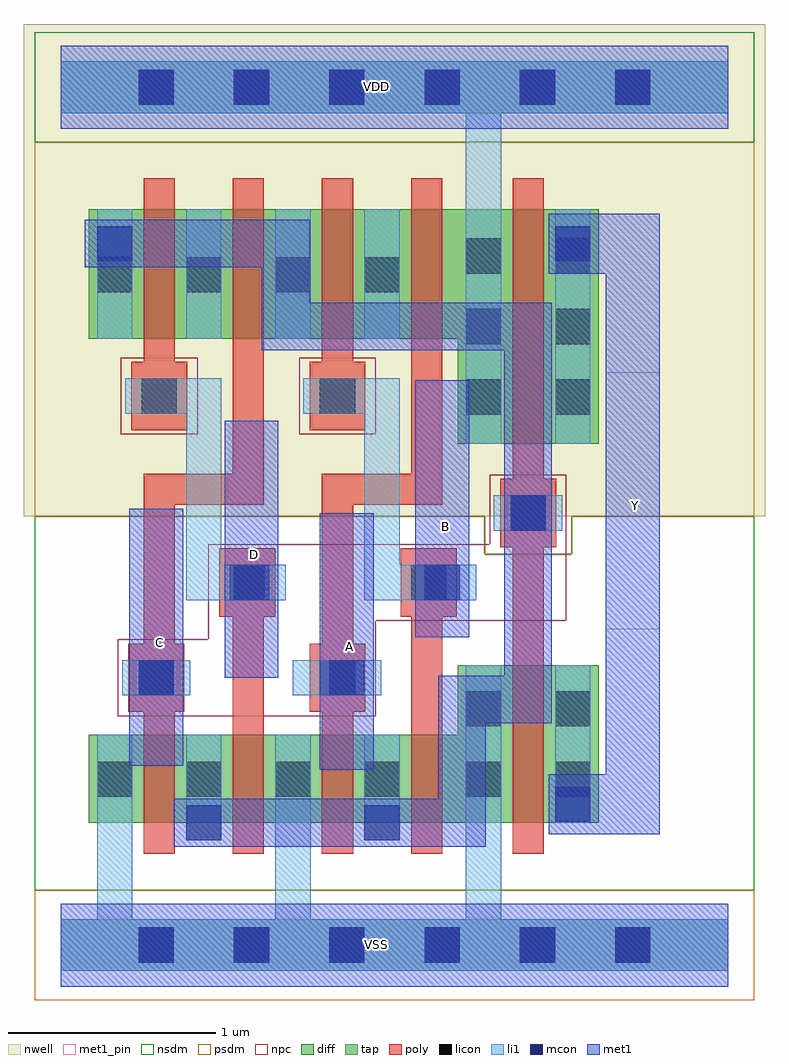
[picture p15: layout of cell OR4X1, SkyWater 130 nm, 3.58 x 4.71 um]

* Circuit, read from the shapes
.subckt OR4X1 A B C D VDD VSS Y
XM1 n1 C VSS VSS sky130_fd_pr__nfet_01v8 w=0.425 l=0.15
XM2 VSS D n1 VSS sky130_fd_pr__nfet_01v8 w=0.425 l=0.15
XM3 n1 A VSS VSS sky130_fd_pr__nfet_01v8 w=0.425 l=0.15
XM4 VSS B n1 VSS sky130_fd_pr__nfet_01v8 w=0.425 l=0.15
XM5 Y n1 VSS VSS sky130_fd_pr__nfet_01v8 w=0.76 l=0.15
XM6 n2 D n1 VDD sky130_fd_pr__pfet_01v8 w=0.625 l=0.15
XM7 n3 C n2 VDD sky130_fd_pr__pfet_01v8 w=0.625 l=0.15
XM8 n4 B n3 VDD sky130_fd_pr__pfet_01v8 w=0.625 l=0.15
XM9 VDD A n4 VDD sky130_fd_pr__pfet_01v8 w=0.625 l=0.15
XM10 Y n1 VDD VDD sky130_fd_pr__pfet_01v8 w=1.13 l=0.15
.ends

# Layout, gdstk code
from math import pi, radians
import gdstk
lib = gdstk.Library(unit=1e-6, precision=1e-09)
def R(c, l, rs):  # rectangles x0, y0, x1, y1
    for r in rs: c.add(gdstk.rectangle(r[:2], r[2:], *l))
def A(c, l, x, y, w, h, nx, ny, dx, dy):  # array of equal rectangles
    R(c, l, [(x+i*dx, y+j*dy, x+i*dx+w, y+j*dy+h) for i in range(nx) for j in range(ny)])
def P(c, l, *ps):  # polygons
    for p in ps: c.add(gdstk.Polygon(p, *l))
nwell = (64, 20)
diff = (65, 20)
tap = (65, 44)
poly = (66, 20)
licon = (66, 44)
li1 = (67, 20)
mcon = (67, 44)
met1_pin = (68, 16)
met1 = (68, 20)
nsdm = (93, 44)
psdm = (94, 20)
npc = (95, 20)

pfet_01v8_cdns_715785618 = lib.new_cell('pfet_01v8_CDNS_7157856182038')
R(pfet_01v8_cdns_715785618, nwell, [(-0.445,-0.18,0.595,1.31)])
R(pfet_01v8_cdns_715785618, diff, [(-0.265,0,0,1.13), (0,0,0.15,1.13), (0.15,0,0.415,1.13)])
R(pfet_01v8_cdns_715785618, poly, [(0,-0.15,0.15,-0.095), (0,-0.095,0.15,0), (0,0,0.15,1.13), (0,1.13,0.15,1.225), (0,1.225,0.15,1.28)])
A(pfet_01v8_cdns_715785618, licon, -0.225, 0.14, 0.17, 0.17, 1, 3, 0, 0.34)
A(pfet_01v8_cdns_715785618, licon, 0.205, 0.14, 0.17, 0.17, 1, 3, 0, 0.34)
R(pfet_01v8_cdns_715785618, li1, [(-0.225,0,-0.055,1.13), (0.205,0,0.375,1.13)])
R(pfet_01v8_cdns_715785618, psdm, [(-0.405,-0.13,0.555,1.26)])

c_pfet_01v8_cdns_715785618 = lib.new_cell('pfet_01v8_CDNS_71578561820112')
R(c_pfet_01v8_cdns_715785618, nwell, [(-0.405,-0.18,0.405,0.805)])
R(c_pfet_01v8_cdns_715785618, diff, [(-0.225,0,0,0.625), (0,0,0.15,0.625), (0.15,0,0.225,0.625)])
R(c_pfet_01v8_cdns_715785618, poly, [(0,-0.15,0.15,-0.095), (0,-0.095,0.15,0), (0,0,0.15,0.625), (0,0.625,0.15,0.72), (0,0.72,0.15,0.775)])
R(c_pfet_01v8_cdns_715785618, psdm, [(-0.235,-0.13,0.105,0.755)])

nfet_01v8_cdns_715785618 = lib.new_cell('nfet_01v8_CDNS_7157856182011')
R(nfet_01v8_cdns_715785618, diff, [(-0.265,0,0,0.425), (0,0,0.15,0.425), (0.15,0,0.205,0.425)])
R(nfet_01v8_cdns_715785618, poly, [(0,-0.15,0.15,-0.095), (0,-0.095,0.15,0), (0,0,0.15,0.425), (0,0.425,0.15,0.52), (0,0.52,0.15,0.575)])
R(nfet_01v8_cdns_715785618, licon, [(-0.225,0.125,-0.055,0.295)])
R(nfet_01v8_cdns_715785618, li1, [(-0.225,0,-0.055,0.425)])
R(nfet_01v8_cdns_715785618, nsdm, [(-0.405,-0.13,0.215,0.555)])

c_nfet_01v8_cdns_715785618 = lib.new_cell('nfet_01v8_CDNS_7157856182034')
R(c_nfet_01v8_cdns_715785618, diff, [(-0.265,0,0,0.76), (0,0,0.15,0.76), (0.15,0,0.415,0.76)])
R(c_nfet_01v8_cdns_715785618, poly, [(0,-0.15,0.15,-0.095), (0,-0.095,0.15,0), (0,0,0.15,0.76), (0,0.76,0.15,0.855), (0,0.855,0.15,0.91)])
R(c_nfet_01v8_cdns_715785618, licon, [(-0.225,0.125,-0.055,0.295), (0.205,0.125,0.375,0.295), (-0.225,0.465,-0.055,0.635), (0.205,0.465,0.375,0.635)])
R(c_nfet_01v8_cdns_715785618, li1, [(-0.225,0,-0.055,0.76), (0.205,0,0.375,0.76)])
R(c_nfet_01v8_cdns_715785618, nsdm, [(-0.405,-0.13,0.555,0.89)])

c_pfet_01v8_cdns_715785618_ = lib.new_cell('pfet_01v8_CDNS_7157856182076')
R(c_pfet_01v8_cdns_715785618_, nwell, [(-0.235,-0.18,0.595,0.805)])
R(c_pfet_01v8_cdns_715785618_, diff, [(-0.055,0,0,0.625), (0,0,0.15,0.625), (0.15,0,0.415,0.625)])
R(c_pfet_01v8_cdns_715785618_, poly, [(0,-0.15,0.15,-0.095), (0,-0.095,0.15,0), (0,0,0.15,0.625), (0,0.625,0.15,0.72), (0,0.72,0.15,0.775)])
R(c_pfet_01v8_cdns_715785618_, licon, [(0.205,0.225,0.375,0.395)])
R(c_pfet_01v8_cdns_715785618_, li1, [(0.205,0,0.375,0.625)])
R(c_pfet_01v8_cdns_715785618_, psdm, [(-0.065,-0.13,0.555,0.755)])

c_pfet_01v8_cdns_715785618__ = lib.new_cell('pfet_01v8_CDNS_71578561820113')
R(c_pfet_01v8_cdns_715785618__, nwell, [(-0.235,-0.18,0.555,0.805)])
R(c_pfet_01v8_cdns_715785618__, diff, [(-0.055,0,0,0.625), (0,0,0.15,0.625), (0.15,0,0.375,0.625)])
R(c_pfet_01v8_cdns_715785618__, poly, [(0,-0.15,0.15,-0.095), (0,-0.095,0.15,0), (0,0,0.15,0.625), (0,0.625,0.15,0.72), (0,0.72,0.15,0.775)])
R(c_pfet_01v8_cdns_715785618__, psdm, [(-0.065,-0.13,0.385,0.755)])

c_nfet_01v8_cdns_715785618_ = lib.new_cell('nfet_01v8_CDNS_71578561820111')
R(c_nfet_01v8_cdns_715785618_, diff, [(-0.225,0,0,0.425), (0,0,0.15,0.425), (0.15,0,0.375,0.425)])
R(c_nfet_01v8_cdns_715785618_, poly, [(0,-0.15,0.15,-0.095), (0,-0.095,0.15,0), (0,0,0.15,0.425), (0,0.425,0.15,0.52), (0,0.52,0.15,0.575)])
R(c_nfet_01v8_cdns_715785618_, licon, [(-0.225,0.125,-0.055,0.295), (0.205,0.125,0.375,0.295)])
R(c_nfet_01v8_cdns_715785618_, li1, [(-0.225,0,-0.055,0.425), (0.205,0,0.375,0.425)])
R(c_nfet_01v8_cdns_715785618_, nsdm, [(-0.235,-0.13,0.385,0.555)])

c_nfet_01v8_cdns_715785618__ = lib.new_cell('nfet_01v8_CDNS_71578561820110')
R(c_nfet_01v8_cdns_715785618__, diff, [(-0.075,0,0,0.425), (0,0,0.15,0.425), (0.15,0,0.205,0.425)])
R(c_nfet_01v8_cdns_715785618__, poly, [(0,-0.15,0.15,-0.095), (0,-0.095,0.15,0), (0,0,0.15,0.425), (0,0.425,0.15,0.52), (0,0.52,0.15,0.575)])
R(c_nfet_01v8_cdns_715785618__, nsdm, [(0.045,-0.13,0.215,0.555)])

c_nfet_01v8_cdns_715785618___ = lib.new_cell('nfet_01v8_CDNS_7157856182078')
R(c_nfet_01v8_cdns_715785618___, diff, [(-0.055,0,0,0.425), (0,0,0.15,0.425), (0.15,0,0.375,0.425)])
R(c_nfet_01v8_cdns_715785618___, poly, [(0,-0.15,0.15,-0.095), (0,-0.095,0.15,0), (0,0,0.15,0.425), (0,0.425,0.15,0.52), (0,0.52,0.15,0.575)])
R(c_nfet_01v8_cdns_715785618___, licon, [(0.205,0.125,0.375,0.295)])
R(c_nfet_01v8_cdns_715785618___, li1, [(0.205,0,0.375,0.425)])
R(c_nfet_01v8_cdns_715785618___, nsdm, [(-0.065,-0.13,0.385,0.555)])

c_pfet_01v8_cdns_715785618___ = lib.new_cell('pfet_01v8_CDNS_71578561820114')
R(c_pfet_01v8_cdns_715785618___, nwell, [(-0.405,-0.18,0.385,0.805)])
R(c_pfet_01v8_cdns_715785618___, diff, [(-0.225,0,0,0.625), (0,0,0.15,0.625), (0.15,0,0.205,0.625)])
R(c_pfet_01v8_cdns_715785618___, poly, [(0,-0.15,0.15,-0.095), (0,-0.095,0.15,0), (0,0,0.15,0.625), (0,0.625,0.15,0.72), (0,0.72,0.15,0.775)])
R(c_pfet_01v8_cdns_715785618___, psdm, [(-0.235,-0.13,0.215,0.755)])

pyl1con_c_cdns_715785618 = lib.new_cell('PYL1CON_C_CDNS_715785618200')
R(pyl1con_c_cdns_715785618, poly, [(-0.135,-0.165,0.135,0.165)])
R(pyl1con_c_cdns_715785618, licon, [(-0.085,-0.085,0.085,0.085)])
R(pyl1con_c_cdns_715785618, npc, [(-0.185,-0.185,0.185,0.185)])

l1m1_c_cdns_715785618202 = lib.new_cell('L1M1_C_CDNS_715785618202')
R(l1m1_c_cdns_715785618202, li1, [(-0.085,-0.165,0.085,0.165)])
R(l1m1_c_cdns_715785618202, mcon, [(-0.085,-0.085,0.085,0.085)])
R(l1m1_c_cdns_715785618202, met1, [(-0.115,-0.145,0.115,0.145)])

l1m1_c_cdns_715785618206 = lib.new_cell('L1M1_C_CDNS_715785618206')
R(l1m1_c_cdns_715785618206, li1, [(-0.085,-0.165,0.085,0.165)])
R(l1m1_c_cdns_715785618206, mcon, [(-0.085,-0.085,0.085,0.085)])
R(l1m1_c_cdns_715785618206, met1, [(-0.145,-0.115,0.145,0.115)])

l1m1_c_cdns_715785618203 = lib.new_cell('L1M1_C_CDNS_715785618203')
R(l1m1_c_cdns_715785618203, li1, [(-0.165,-0.085,0.165,0.085)])
R(l1m1_c_cdns_715785618203, mcon, [(-0.085,-0.085,0.085,0.085)])
R(l1m1_c_cdns_715785618203, met1, [(-0.115,-0.145,0.115,0.145)])

licondiff_c_cdns_7157856 = lib.new_cell('LICONDIFF_C_CDNS_7157856182013')
R(licondiff_c_cdns_7157856, diff, [(-0.125,-0.145,0.125,0.145)])
R(licondiff_c_cdns_7157856, licon, [(-0.085,-0.085,0.085,0.085), (-0.085,-0.085,0.085,0.085)])

l1m1_c_cdns_715785618201 = lib.new_cell('L1M1_C_CDNS_7157856182010')
R(l1m1_c_cdns_715785618201, li1, [(-0.085,-0.085,0.085,0.165)])
R(l1m1_c_cdns_715785618201, mcon, [(-0.085,-0.085,0.085,0.085)])
R(l1m1_c_cdns_715785618201, met1, [(-0.115,-0.145,0.115,0.145)])

c_l1m1_c_cdns_715785618202 = lib.new_cell('L1M1_C_CDNS_7157856182024')
R(c_l1m1_c_cdns_715785618202, li1, [(-0.085,-0.085,0.085,0.165)])
R(c_l1m1_c_cdns_715785618202, mcon, [(-0.085,-0.085,0.085,0.085)])
R(c_l1m1_c_cdns_715785618202, met1, [(-0.145,-0.115,0.145,0.115)])

or4x1 = lib.new_cell('OR4X1')
R(or4x1, nwell, [(-0.18,2.07,3.4,4.305), (-0.18,3.875,3.4,4.445)])
A(or4x1, licon, 0.375, -0.085, 0.17, 0.17, 6, 2, 0.46, 4.14)
A(or4x1, mcon, 0.375, -0.085, 0.17, 0.17, 6, 2, 0.46, 4.14)
R(or4x1, met1_pin, [(1.25,0.845,1.51,2.085), (0.33,0.865,0.59,2.105), (0.79,1.29,1.05,2.53), (1.71,1.485,1.97,2.725), (2.63,1.525,2.89,2.765)])
R(or4x1, nsdm, [(-0.125,3.875,3.345,4.405), (-0.125,3.93,3.345,4.35)])
P(or4x1, nsdm, [(3.345,2.07),(2.465,2.07),(2.465,1.885),(2.045,1.885),(2.045,2.07),(-0.125,2.07),(-0.125,0.265),(3.345,0.265)])
R(or4x1, psdm, [(-0.125,-0.265,3.345,0.265), (-0.125,-0.21,3.345,0.21)])
P(or4x1, psdm, [(3.345,3.875),(-0.125,3.875),(-0.125,2.07),(2.045,2.07),(2.045,1.885),(2.465,1.885),(2.465,2.07),(3.345,2.07)])
P(or4x1, npc, [(2.44,2.27),(2.07,2.27),(2.07,1.935),(0.71,1.935),(0.71,1.475),(0.275,1.475),(0.275,1.105),(1.52,1.105),(1.52,1.565),(2.44,1.565)])
or4x1.add(gdstk.FlexPath([(0.905,1.625),(0.905,1.165)], 0.15, ends="flush", simple_path=True, layer=66, datatype=20))  # poly
or4x1.add(gdstk.FlexPath([(1.765,1.625),(1.765,1.165)], 0.15, ends="flush", simple_path=True, layer=66, datatype=20))  # poly
or4x1.add(gdstk.FlexPath([(1.335,1.165),(1.335,2.2)], 0.15, ends=(0, 0.075), simple_path=True, layer=66, datatype=20))  # poly
or4x1.add(gdstk.FlexPath([(1.335,2.2),(1.765,2.2)], 0.15, ends="extended", simple_path=True, layer=66, datatype=20))  # poly
or4x1.add(gdstk.FlexPath([(1.765,2.2),(1.765,2.775)], 0.15, ends=(0.075, 0), simple_path=True, layer=66, datatype=20))  # poly
or4x1.add(gdstk.FlexPath([(1.335,2.775),(1.335,2.65)], 0.15, ends="flush", simple_path=True, layer=66, datatype=20))  # poly
or4x1.add(gdstk.FlexPath([(1.765,1.75),(1.765,1.625)], 0.15, ends="flush", simple_path=True, layer=66, datatype=20))  # poly
or4x1.add(gdstk.FlexPath([(0.475,1.165),(0.475,2.2)], 0.15, ends=(0, 0.075), simple_path=True, layer=66, datatype=20))  # poly
or4x1.add(gdstk.FlexPath([(0.475,2.2),(0.905,2.2)], 0.15, ends="extended", simple_path=True, layer=66, datatype=20))  # poly
or4x1.add(gdstk.FlexPath([(0.905,2.2),(0.905,2.775)], 0.15, ends=(0.075, 0), simple_path=True, layer=66, datatype=20))  # poly
or4x1.add(gdstk.FlexPath([(0.475,2.775),(0.475,2.65)], 0.15, ends="flush", simple_path=True, layer=66, datatype=20))  # poly
or4x1.add(gdstk.FlexPath([(0.905,1.75),(0.905,1.625)], 0.15, ends="flush", simple_path=True, layer=66, datatype=20))  # poly
or4x1.add(gdstk.FlexPath([(2.255,2.27),(2.255,1.5)], 0.15, ends="flush", simple_path=True, layer=66, datatype=20))  # poly
or4x1.add(gdstk.FlexPath([(3.135,0),(0,0)], 0.25, ends=(0.085, 0), simple_path=True, layer=67, datatype=20))  # li1
or4x1.add(gdstk.FlexPath([(1.55,2.925),(1.55,3.55)], 0.17, ends="flush", simple_path=True, layer=67, datatype=20))  # li1
or4x1.add(gdstk.FlexPath([(1.12,2.925),(1.12,3.55)], 0.17, ends="flush", simple_path=True, layer=67, datatype=20))  # li1
or4x1.add(gdstk.FlexPath([(2.04,0),(1.12,0)], 0.17, ends="extended", simple_path=True, layer=67, datatype=20))  # li1
or4x1.add(gdstk.FlexPath([(2.04,0.59),(2.04,0)], 0.17, ends=(0, 0.085), simple_path=True, layer=67, datatype=20))  # li1
or4x1.add(gdstk.FlexPath([(0.26,0),(0.215,0)], 0.17, ends=(0.085, 0), simple_path=True, layer=67, datatype=20))  # li1
or4x1.add(gdstk.FlexPath([(0.26,0.59),(0.26,0)], 0.17, ends=(0, 0.085), simple_path=True, layer=67, datatype=20))  # li1
or4x1.add(gdstk.FlexPath([(1.12,0.59),(1.12,0)], 0.17, ends=(0, 0.085), simple_path=True, layer=67, datatype=20))  # li1
or4x1.add(gdstk.FlexPath([(1.61,1.75),(1.94,1.75)], 0.17, ends="flush", simple_path=True, layer=67, datatype=20))  # li1
or4x1.add(gdstk.FlexPath([(1.55,2.65),(1.55,1.665)], 0.17, ends=(0.085, 0), simple_path=True, layer=67, datatype=20))  # li1
or4x1.add(gdstk.FlexPath([(1.5,2.65),(1.55,2.65)], 0.17, ends="extended", simple_path=True, layer=67, datatype=20))  # li1
or4x1.add(gdstk.FlexPath([(1.17,2.65),(1.5,2.65)], 0.17, ends=(0, 0.085), simple_path=True, layer=67, datatype=20))  # li1
or4x1.add(gdstk.FlexPath([(0.69,2.65),(0.69,1.665)], 0.17, ends=(0.085, 0), simple_path=True, layer=67, datatype=20))  # li1
or4x1.add(gdstk.FlexPath([(0.64,2.65),(0.69,2.65)], 0.17, ends=(0, 0.085), simple_path=True, layer=67, datatype=20))  # li1
or4x1.add(gdstk.FlexPath([(0.745,1.75),(1.075,1.75)], 0.17, ends="flush", simple_path=True, layer=67, datatype=20))  # li1
or4x1.add(gdstk.FlexPath([(0.31,2.65),(0.64,2.65)], 0.17, ends="flush", simple_path=True, layer=67, datatype=20))  # li1
or4x1.add(gdstk.FlexPath([(1.38,1.29),(1.12,1.29)], 0.17, ends="flush", simple_path=True, layer=67, datatype=20))  # li1
or4x1.add(gdstk.FlexPath([(0.69,2.925),(0.69,3.55)], 0.17, ends="flush", simple_path=True, layer=67, datatype=20))  # li1
or4x1.add(gdstk.FlexPath([(3.135,4.14),(0,4.14)], 0.25, ends=(0.085, 0), simple_path=True, layer=67, datatype=20))  # li1
or4x1.add(gdstk.FlexPath([(2.04,3.55),(2.04,4.14)], 0.17, ends="flush", simple_path=True, layer=67, datatype=20))  # li1
or4x1.add(gdstk.FlexPath([(0,0),(3.22,0)], 0.4, ends="flush", simple_path=True, layer=68, datatype=20))  # met1
or4x1.add(gdstk.FlexPath([(0.92,1.29),(0.92,2.53)], 0.26, ends="flush", simple_path=True, layer=68, datatype=20))  # met1
or4x1.add(gdstk.FlexPath([(2.255,1.205),(2.255,1.185)], 0.23, ends=(0, 0.115), simple_path=True, layer=68, datatype=20))  # met1
or4x1.add(gdstk.FlexPath([(1.935,1.185),(1.935,0.59)], 0.23, ends="extended", simple_path=True, layer=68, datatype=20))  # met1
or4x1.add(gdstk.FlexPath([(2.255,1.185),(1.935,1.185)], 0.23, ends="extended", simple_path=True, layer=68, datatype=20))  # met1
or4x1.add(gdstk.FlexPath([(1.085,3.385),(1.085,2.985)], 0.23, ends="extended", simple_path=True, layer=68, datatype=20))  # met1
or4x1.add(gdstk.FlexPath([(2.255,1.26),(2.255,1.205)], 0.23, ends=(0, 0.115), simple_path=True, layer=68, datatype=20))  # met1
or4x1.add(gdstk.FlexPath([(0.275,3.385),(1.085,3.385)], 0.23, ends=(0, 0.115), simple_path=True, layer=68, datatype=20))  # met1
or4x1.add(gdstk.FlexPath([(2.615,0.68),(2.5,0.68)], 0.29, ends=(0.145, 0), simple_path=True, layer=68, datatype=20))  # met1
or4x1.add(gdstk.FlexPath([(2.76,3.53),(2.76,0.535)], 0.26, ends="flush", simple_path=True, layer=68, datatype=20))  # met1
or4x1.add(gdstk.FlexPath([(1.935,0.59),(1.55,0.59)], 0.23, ends=(0.115, 0), simple_path=True, layer=68, datatype=20))  # met1
or4x1.add(gdstk.FlexPath([(0.46,0.865),(0.46,2.105)], 0.26, ends="flush", simple_path=True, layer=68, datatype=20))  # met1
or4x1.add(gdstk.FlexPath([(1.84,1.485),(1.84,2.725)], 0.26, ends="flush", simple_path=True, layer=68, datatype=20))  # met1
or4x1.add(gdstk.FlexPath([(2.255,2.985),(2.255,1.92)], 0.23, ends=(0.115, 0), simple_path=True, layer=68, datatype=20))  # met1
or4x1.add(gdstk.FlexPath([(2.76,3.385),(2.5,3.385)], 0.29, ends="flush", simple_path=True, layer=68, datatype=20))  # met1
or4x1.add(gdstk.FlexPath([(2.255,1.92),(2.255,1.68)], 0.23, ends=(0, 0.115), simple_path=True, layer=68, datatype=20))  # met1
or4x1.add(gdstk.FlexPath([(1.475,0.59),(0.545,0.59)], 0.23, ends=(0.115, 0), simple_path=True, layer=68, datatype=20))  # met1
or4x1.add(gdstk.FlexPath([(1.085,2.985),(2.255,2.985)], 0.23, ends="extended", simple_path=True, layer=68, datatype=20))  # met1
or4x1.add(gdstk.FlexPath([(2.255,1.425),(2.255,1.26)], 0.23, ends=(0, 0.115), simple_path=True, layer=68, datatype=20))  # met1
or4x1.add(gdstk.FlexPath([(2.255,1.68),(2.255,1.425)], 0.23, ends=(0, 0.115), simple_path=True, layer=68, datatype=20))  # met1
or4x1.add(gdstk.FlexPath([(1.38,0.845),(1.38,2.085)], 0.26, ends="flush", simple_path=True, layer=68, datatype=20))  # met1
or4x1.add(gdstk.FlexPath([(2.615,0.535),(2.615,0.68)], 0.29, ends=(0, 0.145), simple_path=True, layer=68, datatype=20))  # met1
or4x1.add(gdstk.FlexPath([(0,4.14),(3.22,4.14)], 0.4, ends="flush", simple_path=True, layer=68, datatype=20))  # met1
or4x1.add(gdstk.FlexPath([(0,0),(3.22,0)], 0.4, ends="flush", simple_path=True, layer=68, datatype=16))  # met1_pin
or4x1.add(gdstk.FlexPath([(0,4.14),(3.22,4.14)], 0.4, ends="flush", simple_path=True, layer=68, datatype=16))  # met1_pin
or4x1.add(gdstk.FlexPath([(0,0),(3.22,0)], 0.25, ends="flush", simple_path=True, layer=65, datatype=44))  # tap
or4x1.add(gdstk.FlexPath([(0,4.14),(3.22,4.14)], 0.25, ends="flush", simple_path=True, layer=65, datatype=44))  # tap
or4x1.add(gdstk.Reference(pfet_01v8_cdns_715785618, (2.18,2.42)))
or4x1.add(gdstk.Reference(c_pfet_01v8_cdns_715785618, (1.69,2.925)))
or4x1.add(gdstk.Reference(nfet_01v8_cdns_715785618, (0.4,0.59)))
or4x1.add(gdstk.Reference(c_nfet_01v8_cdns_715785618, (2.18,0.59)))
or4x1.add(gdstk.Reference(c_pfet_01v8_cdns_715785618_, (0.55,2.925), rotation=pi, x_reflection=True))
or4x1.add(gdstk.Reference(c_pfet_01v8_cdns_715785618__, (0.98,2.925), rotation=pi, x_reflection=True))
or4x1.add(gdstk.Reference(c_nfet_01v8_cdns_715785618_, (1.26,0.59)))
or4x1.add(gdstk.Reference(c_nfet_01v8_cdns_715785618__, (1.84,0.59), rotation=pi, x_reflection=True))
or4x1.add(gdstk.Reference(c_nfet_01v8_cdns_715785618___, (0.98,0.59), rotation=pi, x_reflection=True))
or4x1.add(gdstk.Reference(c_pfet_01v8_cdns_715785618___, (1.26,2.925)))
or4x1.add(gdstk.Reference(pyl1con_c_cdns_715785618, (0.46,1.29), x_reflection=True))
or4x1.add(gdstk.Reference(pyl1con_c_cdns_715785618, (1.335,1.29), x_reflection=True))
or4x1.add(gdstk.Reference(pyl1con_c_cdns_715785618, (2.255,2.085), rotation=pi, x_reflection=True))
or4x1.add(gdstk.Reference(pyl1con_c_cdns_715785618, (1.775,1.75), x_reflection=True))
or4x1.add(gdstk.Reference(pyl1con_c_cdns_715785618, (1.335,2.65), x_reflection=True))
or4x1.add(gdstk.Reference(pyl1con_c_cdns_715785618, (0.9,1.75), x_reflection=True))
or4x1.add(gdstk.Reference(pyl1con_c_cdns_715785618, (0.475,2.65), x_reflection=True))
or4x1.add(gdstk.Reference(l1m1_c_cdns_715785618202, (2.47,3.385)))
or4x1.add(gdstk.Reference(l1m1_c_cdns_715785618206, (0.26,3.385)))
or4x1.add(gdstk.Reference(l1m1_c_cdns_715785618203, (0.92,1.75), x_reflection=True))
or4x1.add(gdstk.Reference(l1m1_c_cdns_715785618203, (2.255,2.085)))
or4x1.add(gdstk.Reference(l1m1_c_cdns_715785618203, (0.46,1.29), x_reflection=True))
or4x1.add(gdstk.Reference(l1m1_c_cdns_715785618203, (1.38,1.29), x_reflection=True))
or4x1.add(gdstk.Reference(l1m1_c_cdns_715785618203, (1.84,1.75), x_reflection=True))
or4x1.add(gdstk.Reference(licondiff_c_cdns_7157856, (1.55,3.235)))
or4x1.add(gdstk.Reference(licondiff_c_cdns_7157856, (1.12,3.235)))
or4x1.add(gdstk.Reference(licondiff_c_cdns_7157856, (0.69,3.235)))
or4x1.add(gdstk.Reference(l1m1_c_cdns_715785618201, (2.47,0.68)))
or4x1.add(gdstk.Reference(c_l1m1_c_cdns_715785618202, (0.69,0.59)))
or4x1.add(gdstk.Reference(c_l1m1_c_cdns_715785618202, (1.55,0.59)))
or4x1.add(gdstk.Label('VDD', (1.525,4.145), layer=68, texttype=20))
or4x1.add(gdstk.Label('D', (0.935,1.885), layer=68, texttype=20))
or4x1.add(gdstk.Label('B', (1.855,2.02), layer=68, texttype=20))
or4x1.add(gdstk.Label('C', (0.475,1.46), layer=68, texttype=20))
or4x1.add(gdstk.Label('A', (1.395,1.44), layer=68, texttype=20))
or4x1.add(gdstk.Label('Y', (2.775,2.12), layer=68, texttype=20))
or4x1.add(gdstk.Label('VSS', (1.525,0.005), layer=68, texttype=20))

lib.write_gds('OR4X1.gds')
